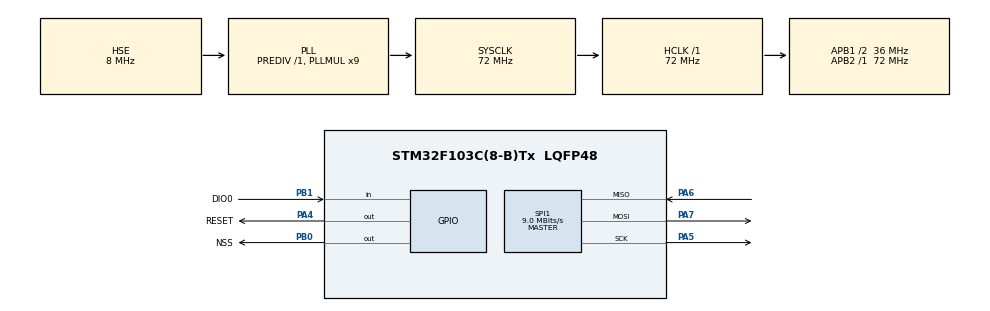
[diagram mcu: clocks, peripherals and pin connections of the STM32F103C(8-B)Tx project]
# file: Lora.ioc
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Mcu.Family=STM32F1
Mcu.Name=STM32F103C(8-B)Tx
Mcu.Package=LQFP48
NVIC.PriorityGroup=NVIC_PRIORITYGROUP_4
PA13.Mode=Serial_Wire
PA13.Signal=SYS_JTMS-SWDIO
PA14.Mode=Serial_Wire
PA14.Signal=SYS_JTCK-SWCLK
PA4.GPIO_Label=RESET
PA4.Signal=GPIO_Output
PA5.Mode=Full_Duplex_Master
PA5.Signal=SPI1_SCK
PA6.Mode=Full_Duplex_Master
PA6.Signal=SPI1_MISO
PA7.Mode=Full_Duplex_Master
PA7.Signal=SPI1_MOSI
PB0.GPIO_Label=NSS
PB0.Signal=GPIO_Output
PB1.GPIO_Label=DIO0
PB1.Signal=GPIO_Input
PD0-OSC_IN.Mode=HSE-External-Oscillator
PD0-OSC_IN.Signal=RCC_OSC_IN
PD1-OSC_OUT.Mode=HSE-External-Oscillator
PD1-OSC_OUT.Signal=RCC_OSC_OUT
ProjectManager.HeapSize=0x200
ProjectManager.StackSize=0x400
ProjectManager.TargetToolchain=STM32CubeIDE
RCC.AHBFreq_Value=72000000
RCC.APB1CLKDivider=RCC_HCLK_DIV2
RCC.APB1Freq_Value=36000000
RCC.APB1TimFreq_Value=72000000
RCC.APB2Freq_Value=72000000
RCC.APB2TimFreq_Value=72000000
RCC.HCLKFreq_Value=72000000
RCC.PLLMUL=RCC_PLL_MUL9
RCC.PLLSourceVirtual=RCC_PLLSOURCE_HSE
RCC.SYSCLKFreq_VALUE=72000000
RCC.SYSCLKSource=RCC_SYSCLKSOURCE_PLLCLK
RCC.USBFreq_Value=72000000
SPI1.BaudRatePrescaler=SPI_BAUDRATEPRESCALER_8
SPI1.CalculateBaudRate=9.0 MBits/s
SPI1.Direction=SPI_DIRECTION_2LINES
SPI1.Mode=SPI_MODE_MASTER
SPI1.VirtualType=VM_MASTER
board=custom

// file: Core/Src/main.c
/* USER CODE BEGIN Header */
/**
  ******************************************************************************
  * @file           : main.c
  * @brief          : Main program body
  ******************************************************************************
  * @attention
  *
  * Copyright (c) 2023 STMicroelectronics.
  * All rights reserved.
  *
  * This software is licensed under terms that can be found in the LICENSE file
  * in the root directory of this software component.
  * If no LICENSE file comes with this software, it is provided AS-IS.
  *
  ******************************************************************************
  */
/* USER CODE END Header */
#include "main.h"

/* USER CODE BEGIN Includes */
#include "sx_1278.h"
/* USER CODE END Includes */

SPI_HandleTypeDef hspi1;

/* USER CODE BEGIN PV */
SX1278_hw_t SX1278_hw;
SX1278_t SX1278;

int master;
int ret;

char buffer[512];

int message;
int message_length;
/* USER CODE END PV */

void SystemClock_Config(void);
static void MX_GPIO_Init(void);
static void MX_SPI1_Init(void);

int main(void)
{

  /* MCU Configuration--------------------------------------------------------*/

  /* Reset of all peripherals, Initializes the Flash interface and the Systick. */
  HAL_Init();

  /* Configure the system clock */
  SystemClock_Config();

  /* Initialize all configured peripherals */
  MX_GPIO_Init();
  MX_SPI1_Init();
  /* USER CODE BEGIN 2 */
	SX1278_hw.dio0.port = DIO0_GPIO_Port;
	SX1278_hw.dio0.pin = DIO0_Pin;
	SX1278_hw.nss.port = NSS_GPIO_Port;
	SX1278_hw.nss.pin = NSS_Pin;
	SX1278_hw.reset.port = RESET_GPIO_Port;
	SX1278_hw.reset.pin = RESET_Pin;
	SX1278_hw.spi = &hspi1;

	SX_1278_Init(&SX1278, 434000000, SX1278_POWER_20DBM, SX1278_LORA_SF_7,
	SX1278_LORA_BW_500KHZ, SX1278_LORA_CR_4_5, SX1278_LORA_CRC_EN, 10, &SX1278_hw);

	ret = SX_1278_TX_Init(&SX1278, 10, 2000);
//	ret = SX_1278_RX_Init(&SX1278, 10, 2000);
  /* USER CODE END 2 */

  /* Infinite loop */
  while (1)
  {

  }
}

void SystemClock_Config(void)
{
  RCC_OscInitTypeDef RCC_OscInitStruct = {0};
  RCC_ClkInitTypeDef RCC_ClkInitStruct = {0};

  /** Initializes the RCC Oscillators according to the specified parameters
  * in the RCC_OscInitTypeDef structure.
  */
  RCC_OscInitStruct.OscillatorType = RCC_OSCILLATORTYPE_HSE;
  RCC_OscInitStruct.HSEState = RCC_HSE_ON;
  RCC_OscInitStruct.HSEPredivValue = RCC_HSE_PREDIV_DIV1;
  RCC_OscInitStruct.HSIState = RCC_HSI_ON;
  RCC_OscInitStruct.PLL.PLLState = RCC_PLL_ON;
  RCC_OscInitStruct.PLL.PLLSource = RCC_PLLSOURCE_HSE;
  RCC_OscInitStruct.PLL.PLLMUL = RCC_PLL_MUL9;
  if (HAL_RCC_OscConfig(&RCC_OscInitStruct) != HAL_OK)
  {
    Error_Handler();
  }

  /** Initializes the CPU, AHB and APB buses clocks
  */
  RCC_ClkInitStruct.ClockType = RCC_CLOCKTYPE_HCLK|RCC_CLOCKTYPE_SYSCLK
                              |RCC_CLOCKTYPE_PCLK1|RCC_CLOCKTYPE_PCLK2;
  RCC_ClkInitStruct.SYSCLKSource = RCC_SYSCLKSOURCE_PLLCLK;
  RCC_ClkInitStruct.AHBCLKDivider = RCC_SYSCLK_DIV1;
  RCC_ClkInitStruct.APB1CLKDivider = RCC_HCLK_DIV2;
  RCC_ClkInitStruct.APB2CLKDivider = RCC_HCLK_DIV1;

  if (HAL_RCC_ClockConfig(&RCC_ClkInitStruct, FLASH_LATENCY_2) != HAL_OK)
  {
    Error_Handler();
  }
}

static void MX_SPI1_Init(void)
{

  /* SPI1 parameter configuration*/
  hspi1.Instance = SPI1;
  hspi1.Init.Mode = SPI_MODE_MASTER;
  hspi1.Init.Direction = SPI_DIRECTION_2LINES;
  hspi1.Init.DataSize = SPI_DATASIZE_8BIT;
  hspi1.Init.CLKPolarity = SPI_POLARITY_LOW;
  hspi1.Init.CLKPhase = SPI_PHASE_1EDGE;
  hspi1.Init.NSS = SPI_NSS_SOFT;
  hspi1.Init.BaudRatePrescaler = SPI_BAUDRATEPRESCALER_8;
  hspi1.Init.FirstBit = SPI_FIRSTBIT_MSB;
  hspi1.Init.TIMode = SPI_TIMODE_DISABLE;
  hspi1.Init.CRCCalculation = SPI_CRCCALCULATION_DISABLE;
  hspi1.Init.CRCPolynomial = 10;
  if (HAL_SPI_Init(&hspi1) != HAL_OK)
  {
    Error_Handler();
  }

}

static void MX_GPIO_Init(void)
{
  GPIO_InitTypeDef GPIO_InitStruct = {0};

  /* GPIO Ports Clock Enable */
  __HAL_RCC_GPIOD_CLK_ENABLE();
  __HAL_RCC_GPIOA_CLK_ENABLE();
  __HAL_RCC_GPIOB_CLK_ENABLE();

  /*Configure GPIO pin Output Level */
  HAL_GPIO_WritePin(RESET_GPIO_Port, RESET_Pin, GPIO_PIN_RESET);

  /*Configure GPIO pin Output Level */
  HAL_GPIO_WritePin(NSS_GPIO_Port, NSS_Pin, GPIO_PIN_RESET);

  /*Configure GPIO pin : RESET_Pin */
  GPIO_InitStruct.Pin = RESET_Pin;
  GPIO_InitStruct.Mode = GPIO_MODE_OUTPUT_PP;
  GPIO_InitStruct.Pull = GPIO_NOPULL;
  GPIO_InitStruct.Speed = GPIO_SPEED_FREQ_LOW;
  HAL_GPIO_Init(RESET_GPIO_Port, &GPIO_InitStruct);

  /*Configure GPIO pin : NSS_Pin */
  GPIO_InitStruct.Pin = NSS_Pin;
  GPIO_InitStruct.Mode = GPIO_MODE_OUTPUT_PP;
  GPIO_InitStruct.Pull = GPIO_NOPULL;
  GPIO_InitStruct.Speed = GPIO_SPEED_FREQ_LOW;
  HAL_GPIO_Init(NSS_GPIO_Port, &GPIO_InitStruct);

  /*Configure GPIO pin : DIO0_Pin */
  GPIO_InitStruct.Pin = DIO0_Pin;
  GPIO_InitStruct.Mode = GPIO_MODE_INPUT;
  GPIO_InitStruct.Pull = GPIO_NOPULL;
  HAL_GPIO_Init(DIO0_GPIO_Port, &GPIO_InitStruct);

}

void Error_Handler(void)
{
  __disable_irq();
  while (1)
  {
  }
}
